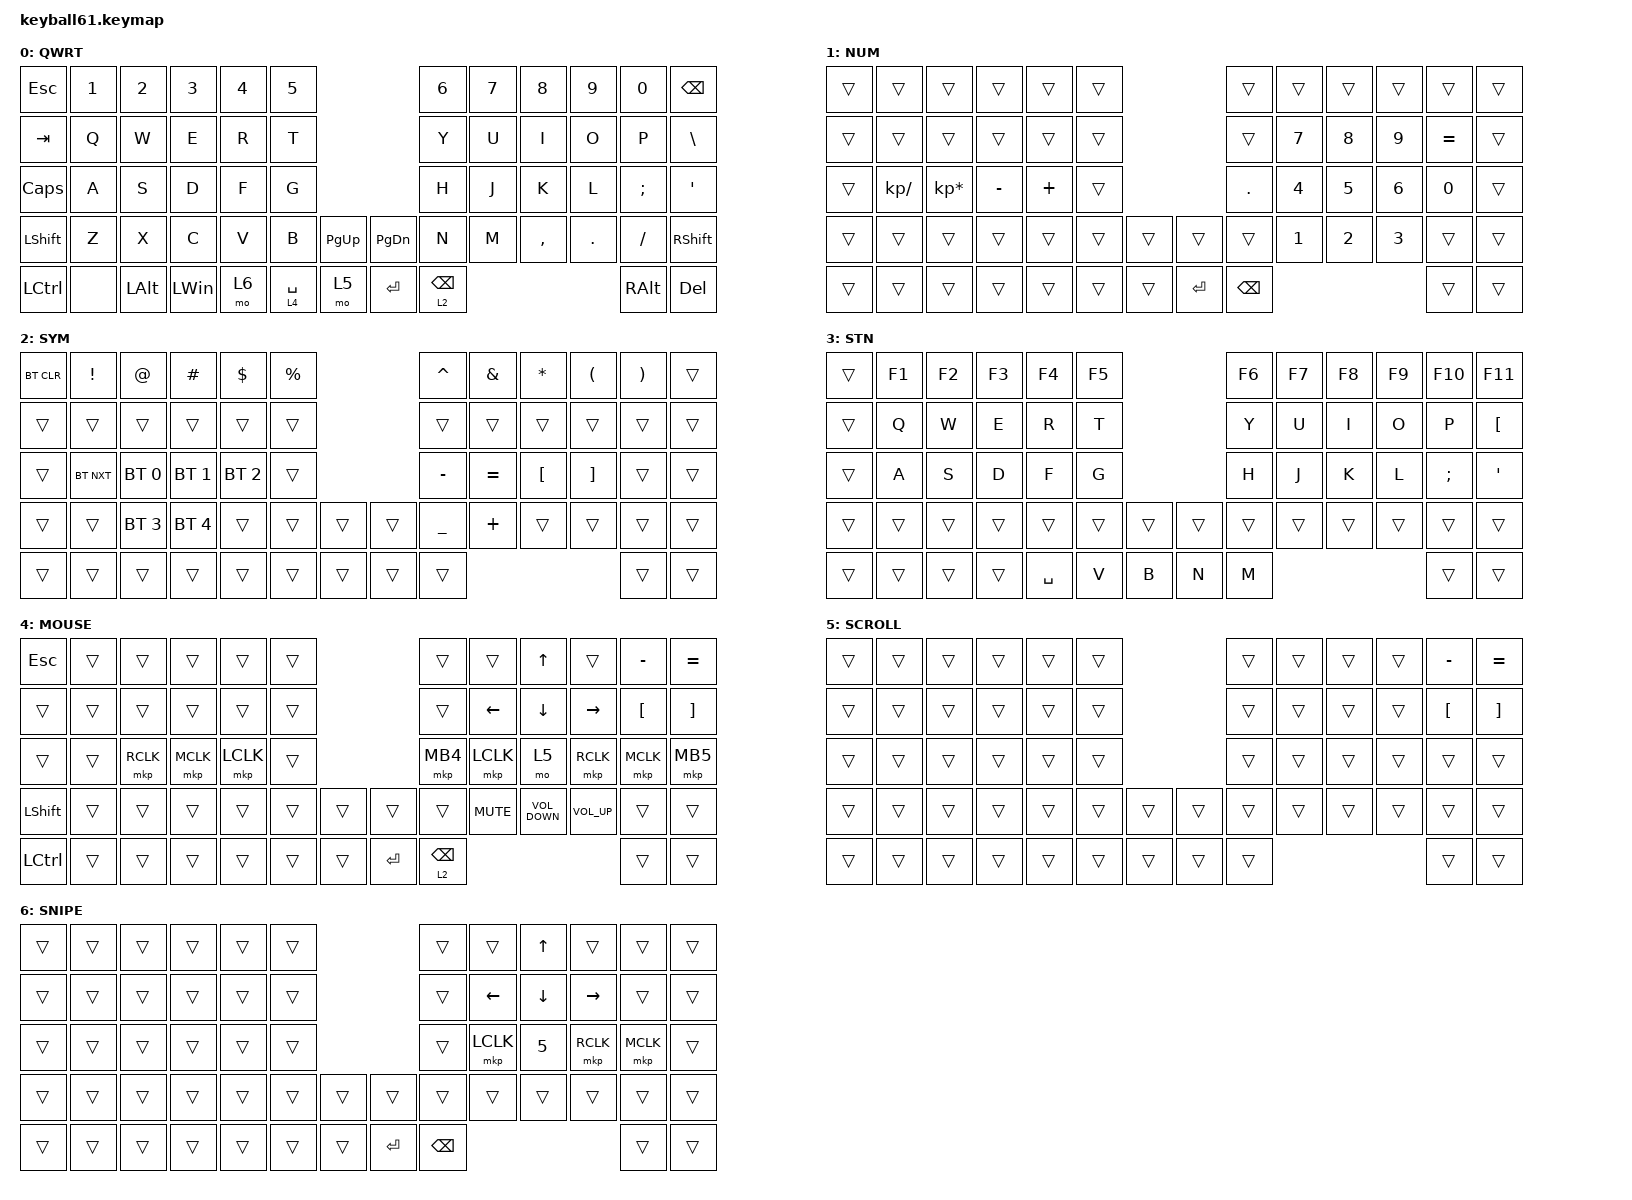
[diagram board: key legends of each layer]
#define DEFAULT 0
#define SYM     1
#define FUN     2
#define MOUSE   3
#define SCROLL  4
#define SNIPE   5

#include <behaviors/mouse_keys.dtsi>
#include <dt-bindings/zmk/mouse.h>
#include <behaviors.dtsi>
#include <dt-bindings/zmk/bt.h>
#include <dt-bindings/zmk/keys.h>
#include <dt-bindings/zmk/pointing.h>

// 1. ตั้งค่าความเร็วการเคลื่อนที่และระยะ Scroll ใหม่อย่างถูกต้อง

#define ZMK_POINTING_DEFAULT_MOVE_VAL 1500
#define ZMK_POINTING_DEFAULT_SCRL_VAL 2

&nice_view_spi { cs-gpios = <&pro_micro 1 GPIO_ACTIVE_HIGH>; };

&lt {
    tapping-term-ms = <240>;
    flavor = "balanced";
    quick-tap-ms = <150>;
};

&mt {
    tapping-term-ms = <200>;
    flavor = "tap-preferred";
    quick-tap-ms = <150>;
};

/ {
    combos {
        compatible = "zmk,combos";

        TH-EN {
            bindings = <&kp GRAVE>;
            key-positions = <28 31>;
        };

        Printsc {
            bindings = <&kp PSCRN>;
            key-positions = <27 28>;
        };

        Copy {
            bindings = <&kp LC(C)>;
            key-positions = <31 32>;
        };

        Cut {
            bindings = <&kp LC(X)>;
            key-positions = <45 46>;
        };

        Paste {
            bindings = <&kp LC(V)>;
            key-positions = <33 34>;
        };

        Snipe {
            bindings = <&mo 6>;
            key-positions = <46 47>;
        };

        Number {
            bindings = <&tog 1>;
            key-positions = <13 22>;
        };

        Cal {
            bindings = <&kp C_AL_CALCULATOR>;
            key-positions = <15 14>;
            require-prior-idle-ms = <150>;
        };

        Bri.Dec {
            bindings = <&kp C_BRIGHTNESS_DEC>;
            key-positions = <4 5>;
            require-prior-idle-ms = <150>;
        };

        Bri.up {
            bindings = <&kp C_BRIGHTNESS_INC>;
            key-positions = <6 7>;
            require-prior-idle-ms = <150>;
        };

        Steno {
            bindings = <&tog 3>;
            key-positions = <42 43>;
        };
    };

    keymap {
        compatible = "zmk,keymap";

        default_layer {
            label = "QWRT";
            bindings = <
&kp ESC         &kp N1  &kp N2        &kp N3        &kp N4  &kp N5                                   &kp N6           &kp N7  &kp N8     &kp N9   &kp N0         &kp BSPC
&kp TAB         &kp Q   &kp W         &kp E         &kp R   &kp T                                    &kp Y            &kp U   &kp I      &kp O    &kp P          &kp BACKSLASH
&kp CAPS        &kp A   &kp S         &kp D         &kp F   &kp G                                    &kp H            &kp J   &kp K      &kp L    &kp SEMI       &kp SQT
&kp LEFT_SHIFT  &kp Z   &kp X         &kp C         &kp V   &kp B        &kp PAGE_UP  &kp PAGE_DOWN  &kp N            &kp M   &kp COMMA  &kp DOT  &kp FSLH       &kp RIGHT_SHIFT
&kp LCTRL       &none   &kp LEFT_ALT  &kp LEFT_WIN  &mo 6   &lt 4 SPACE  &mo 5        &kp ENTER      &lt 2 BACKSPACE                              &kp RIGHT_ALT  &kp DELETE
            >;
        };

        number_layer {
            bindings = <
&trans  &trans         &trans           &trans     &trans    &trans                     &trans    &trans  &trans  &trans  &trans     &trans
&trans  &trans         &trans           &trans     &trans    &trans                     &trans    &kp N7  &kp N8  &kp N9  &kp EQUAL  &trans
&trans  &kp KP_DIVIDE  &kp KP_MULTIPLY  &kp MINUS  &kp PLUS  &trans                     &kp DOT   &kp N4  &kp N5  &kp N6  &kp N0     &trans
&trans  &trans         &trans           &trans     &trans    &trans  &trans  &trans     &trans    &kp N1  &kp N2  &kp N3  &trans     &trans
&trans  &trans         &trans           &trans     &trans    &trans  &trans  &kp ENTER  &kp BSPC                          &trans     &trans
            >;

            label = "NUM";
        };

        symbol_layer {
            label = "SYM";
            bindings = <
&bt BT_CLR  &kp EXCLAMATION  &kp AT_SIGN   &kp HASH      &kp DOLLAR    &kp PERCENT                  &kp CARET       &kp AMPERSAND  &kp ASTERISK      &kp LEFT_PARENTHESIS  &kp RIGHT_PARENTHESIS  &trans
&trans      &trans           &trans        &trans        &trans        &trans                       &trans          &trans         &trans            &trans                &trans                 &trans
&trans      &bt BT_NXT       &bt BT_SEL 0  &bt BT_SEL 1  &bt BT_SEL 2  &trans                       &kp MINUS       &kp EQUAL      &kp LEFT_BRACKET  &kp RIGHT_BRACKET     &trans                 &trans
&trans      &trans           &bt BT_SEL 3  &bt BT_SEL 4  &trans        &trans       &trans  &trans  &kp UNDERSCORE  &kp PLUS       &trans            &trans                &trans                 &trans
&trans      &trans           &trans        &trans        &trans        &trans       &trans  &trans  &trans                                                                 &trans                 &trans
            >;
        };

        Steno_layer {
            label = "STN";
            bindings = <
&trans  &kp F1  &kp F2  &kp F3  &kp F4     &kp F5                  &kp F6  &kp F7  &kp F8  &kp F9  &kp F10   &kp F11
&trans  &kp Q   &kp W   &kp E   &kp R      &kp T                   &kp Y   &kp U   &kp I   &kp O   &kp P     &kp LBKT
&trans  &kp A   &kp S   &kp D   &kp F      &kp G                   &kp H   &kp J   &kp K   &kp L   &kp SEMI  &kp APOS
&trans  &trans  &trans  &trans  &trans     &trans  &trans  &trans  &trans  &trans  &trans  &trans  &trans    &trans
&trans  &trans  &trans  &trans  &kp SPACE  &kp V   &kp B   &kp N   &kp M                           &trans    &trans
            >;
        };

        mouse_layer {
            label = "MOUSE";
            bindings = <
&kp ESC    &trans  &trans     &trans     &trans     &trans                     &trans           &trans      &kp UP_ARROW       &trans        &kp MINUS  &kp EQUAL
&trans     &trans  &trans     &trans     &trans     &trans                     &trans           &kp LEFT    &kp DOWN_ARROW     &kp RIGHT     &kp LBKT   &kp RBKT
&trans     &trans  &mkp RCLK  &mkp MCLK  &mkp LCLK  &trans                     &mkp MB4         &mkp LCLK   &mo 5              &mkp RCLK     &mkp MCLK  &mkp MB5
&kp LSHFT  &trans  &trans     &trans     &trans     &trans  &trans  &trans     &trans           &kp C_MUTE  &kp C_VOLUME_DOWN  &kp C_VOL_UP  &trans     &trans
&kp LCTRL  &trans  &trans     &trans     &trans     &trans  &trans  &kp ENTER  &lt 2 BACKSPACE                                               &trans     &trans
            >;
        };

        scroll_layer {
            label = "SCROLL";
            bindings = <
&trans  &trans  &trans  &trans  &trans  &trans                  &trans  &trans  &trans  &trans  &kp MINUS         &kp EQUAL
&trans  &trans  &trans  &trans  &trans  &trans                  &trans  &trans  &trans  &trans  &kp LEFT_BRACKET  &kp RBKT
&trans  &trans  &trans  &trans  &trans  &trans                  &trans  &trans  &trans  &trans  &trans            &trans
&trans  &trans  &trans  &trans  &trans  &trans  &trans  &trans  &trans  &trans  &trans  &trans  &trans            &trans
&trans  &trans  &trans  &trans  &trans  &trans  &trans  &trans  &trans                          &trans            &trans
            >;
        };

        snipe_layer {
            label = "SNIPE";
            bindings = <
&trans  &trans  &trans  &trans  &trans  &trans                     &trans         &trans          &kp UP_ARROW    &trans     &trans     &trans
&trans  &trans  &trans  &trans  &trans  &trans                     &trans         &kp LEFT_ARROW  &kp DOWN_ARROW  &kp RIGHT  &trans     &trans
&trans  &trans  &trans  &trans  &trans  &trans                     &trans         &mkp LCLK       &kp N5          &mkp RCLK  &mkp MCLK  &trans
&trans  &trans  &trans  &trans  &trans  &trans  &trans  &trans     &trans         &trans          &trans          &trans     &trans     &trans
&trans  &trans  &trans  &trans  &trans  &trans  &trans  &kp ENTER  &kp BACKSPACE                                             &trans     &trans
            >;
        };
    };
};
